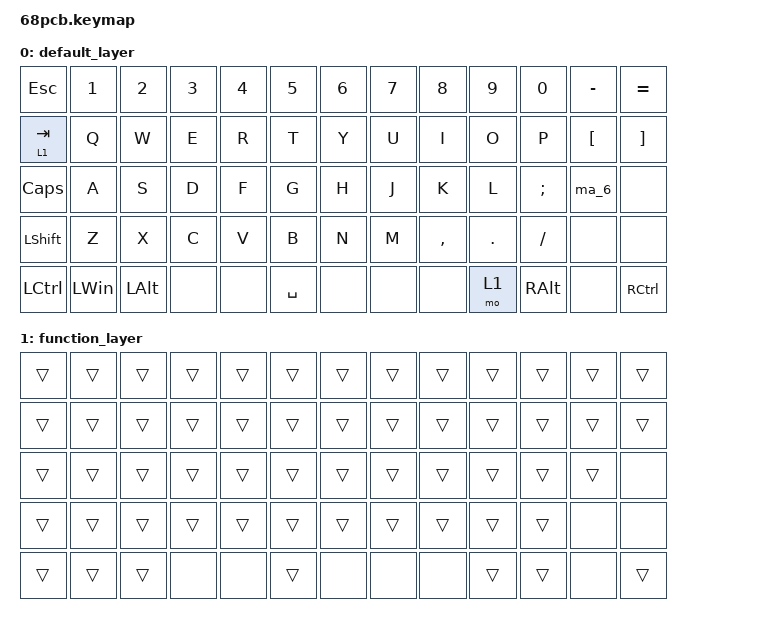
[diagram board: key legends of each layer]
/*
 * Copyright (c) 2020 The ZMK Contributors
 *
 * SPDX-License-Identifier: MIT
 */

#include <behaviors.dtsi>
#include <dt-bindings/zmk/keys.h>
#include <dt-bindings/zmk/bt.h>
#include <dt-bindings/zmk/outputs.h>

#define DEF 0
#define FUN 1

/ {
    macros {
        /* è: `E */
        ma_1: ma_1 {
            label = "ma_1";
            compatible = "zmk,behavior-macro";
            #binding-cells = <0>;
            bindings
                = <&macro_tap &kp GRAVE>
                , <&macro_tap &kp E>
                ;
        };										
        /* ù: `U */
        ma_2: ma_2 {
            label = "ma_2";
            compatible = "zmk,behavior-macro";
            #binding-cells = <0>;
            bindings
                = <&macro_tap &kp GRAVE>
                , <&macro_tap &kp U>
                ;
        };										
        /* ì: `I */
        ma_3: ma_3 {
            label = "ma_3";
            compatible = "zmk,behavior-macro";
            #binding-cells = <0>;
            bindings
                = <&macro_tap &kp GRAVE>
                , <&macro_tap &kp I>
                ;
        };										
        /* ò: `O */
        ma_4: ma_4 {
            label = "ma_4";
            compatible = "zmk,behavior-macro";
            #binding-cells = <0>;
            bindings
                = <&macro_tap &kp GRAVE>
                , <&macro_tap &kp O>
                ;
        };							
        /* à: `A */
        ma_5: ma_5 {
            label = "ma_5";
            compatible = "zmk,behavior-macro";
            #binding-cells = <0>;
            bindings
                = <&macro_tap &kp GRAVE>
                , <&macro_tap &kp A>
                ;
        };							
        /* ': '  */
        ma_6: ma_6 {
            label = "ma_6";
            compatible = "zmk,behavior-macro";
            #binding-cells = <0>;
            bindings
                = <&macro_tap &kp SQT>
                , <&macro_tap &kp SPACE>
                ;
        };									
        /* `:`  */
        ma_7: ma_7 {
            label = "ma_7";
            compatible = "zmk,behavior-macro";
            #binding-cells = <0>;
            bindings
                = <&macro_tap &kp GRAVE>
                , <&macro_tap &kp SPACE>
                ;
        };									
        /* ²: Alt253 */
        ma_8: ma_8 {
            label = "ma_8";
            compatible = "zmk,behavior-macro";
            #binding-cells = <0>;
            bindings
                = <&macro_press &kp LALT>
                , <&macro_tap &kp KP_N2>
                , <&macro_tap &kp KP_N5>
                , <&macro_tap &kp KP_N3>				
                , <&macro_release &kp LALT>
                ;
        };								
        /* ~: Alt126 */
        ma_9: ma_9 {
            label = "ma_9";
            compatible = "zmk,behavior-macro";
            #binding-cells = <0>;
            bindings
                = <&macro_press &kp LALT>
                , <&macro_tap &kp KP_N1>
                , <&macro_tap &kp KP_N2>
                , <&macro_tap &kp KP_N6>				
                , <&macro_release &kp LALT>
                ;
        };										
        /* ×: Alt0215 */
        ma_10: ma_10 {
            label = "ma_10";
            compatible = "zmk,behavior-macro";
            #binding-cells = <0>;
            bindings
                = <&macro_press &kp LALT>
                , <&macro_tap &kp KP_N0>
                , <&macro_tap &kp KP_N2>				
                , <&macro_tap &kp KP_N1>
                , <&macro_tap &kp KP_N5>				
                , <&macro_release &kp LALT>
                ;
        };									
        /* ÷: Alt0247 */
        ma_11: ma_11 {
            label = "ma_11";
            compatible = "zmk,behavior-macro";
            #binding-cells = <0>;
            bindings
                = <&macro_press &kp LALT>
                , <&macro_tap &kp KP_N0>
                , <&macro_tap &kp KP_N2>				
                , <&macro_tap &kp KP_N4>
                , <&macro_tap &kp KP_N7>				
                , <&macro_release &kp LALT>
                ;
        };								
    };
};

/ {
    behaviors {
        ht: hold_tap {
            compatible = "zmk,behavior-hold-tap";
            label = "Hold Tap";
            #binding-cells = <2>;
            tapping-term-ms = <200>;
            flavor = "tap-preferred";
            bindings = <&kp>, <&kp>;
        };
    };

    keymap {
        compatible = "zmk,keymap";

        default_layer {
            bindings = <
&kp ESC           &kp NUMBER_1  &kp NUMBER_2  &kp NUMBER_3  &kp NUMBER_4  &kp NUMBER_5  &kp NUMBER_6  &kp NUMBER_7  &kp NUMBER_8  &kp NUMBER_9  &kp NUMBER_0   &kp MINUS         &kp EQUAL        
&lt 1 TAB         &kp Q         &kp W         &kp E         &kp R         &kp T         &kp Y         &kp U         &kp I         &kp O         &kp P          &kp LEFT_BRACKET  &kp RIGHT_BRACKET
&kp CAPSLOCK      &kp A         &kp S         &kp D         &kp F         &kp G         &kp H         &kp J         &kp K         &kp L         &kp SEMICOLON  &ma_6             &none            
&kp LEFT_SHIFT    &kp Z         &kp X         &kp C         &kp V         &kp B         &kp N         &kp M         &kp COMMA     &kp PERIOD    &kp SLASH      &none             &none            
&kp LEFT_CONTROL  &kp LEFT_WIN  &kp LEFT_ALT  &none         &none         &kp SPACE     &none         &none         &none         &mo 1         &kp RIGHT_ALT  &none             &kp RIGHT_CONTROL     
            >;
        };

        function_layer {
            bindings = <
&trans &trans &trans &trans &trans &trans &trans &trans &trans &trans &trans &trans &trans
&trans &trans &trans &trans &trans &trans &trans &trans &trans &trans &trans &trans &trans
&trans &trans &trans &trans &trans &trans &trans &trans &trans &trans &trans &trans &none 
&trans &trans &trans &trans &trans &trans &trans &trans &trans &trans &trans &none  &none 
&trans &trans &trans &none  &none  &trans &none  &none  &none  &trans &trans &none  &trans       
            >;
        };

    };
};
